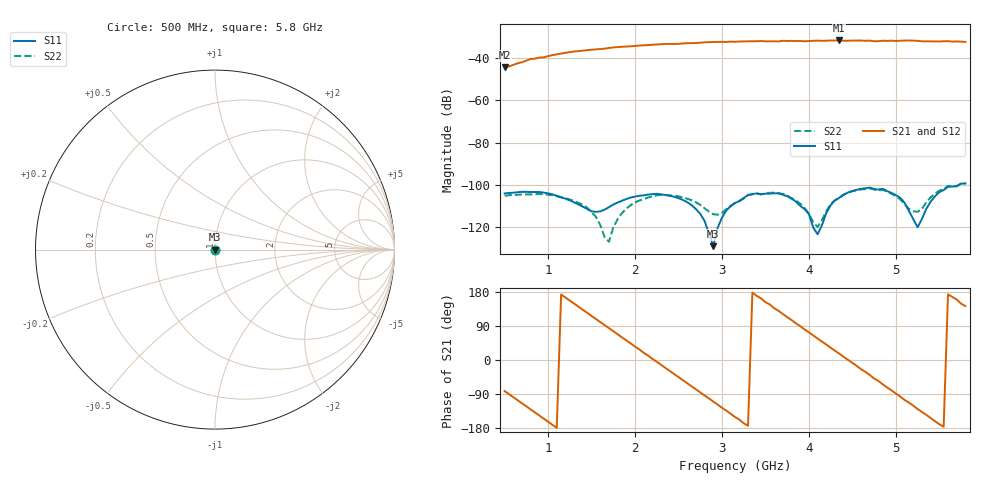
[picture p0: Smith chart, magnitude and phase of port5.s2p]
# GHZ S RI R 50
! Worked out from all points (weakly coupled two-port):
!   107 points, 500 MHz to 5.8 GHz, reference 50 ohm
!   highest |S21| = -31.63 dB at 4.35 GHz (marker M1); lowest = -44.4 dB at 500 MHz (marker M2)
!   lowest |S11| = -129.0 dB at 2.9 GHz (marker M3), VSWR 1.00, Z = 50 - j9.72e-06 ohm
!   |S11| at or under -10 dB: start of sweep to end of sweep
!   |S22| runs from -126.9 to -99.3 dB; largest |S21 - S12| = 0.00051
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0.5  5.3e-06 -3.4e-06  0.000838 -0.00597  0.00084 -0.00597  5.43e-06 -1.17e-06
0.55  4.79e-06 -4.31e-06  1.1e-05 -0.00635  1.98e-05 -0.00635  5.44e-06 -1.69e-06
0.8  2.25e-07 -6.81e-06  -0.00625 -0.00728  -0.00625 -0.00728  3.87e-06 -4.56e-06
0.95  -2.48e-06 -6.1e-06  -0.00947 -0.00446  -0.00947 -0.00445  2.18e-06 -5.62e-06
1.2  -3.99e-06 -2.54e-06  -0.0129 0.00348  -0.0129 0.00347  -1.12e-06 -4.7e-06
1.4  -2.86e-06 -1.1e-06  -0.0101 0.0111  -0.0102 0.0111  -2.31e-06 -2.46e-06
1.75  -2.18e-06 -2.66e-06  0.00436 0.0174  0.00438 0.0174  7.57e-07 -6.26e-07
2.3  -5.94e-06 9.08e-07  0.0209 -0.00471  0.0209 -0.00462  -2.12e-06 -5.39e-06
2.5  -3.84e-06 3e-06  0.0154 -0.0154  0.0154 -0.0153  -4.3e-06 -3.2e-06
2.9  -3.42e-07 -9.72e-08  -0.00811 -0.0226  -0.00806 -0.0227  -1.92e-06 -6.75e-07
3.15  -3.06e-06 -2.12e-06  -0.0212 -0.012  -0.0212 -0.0122  -2.24e-06 -3e-06
3.55  -5.18e-06 3.46e-06  -0.0209 0.0138  -0.0207 0.014  -6.48e-06 6.11e-07
3.95  3.36e-07 2.65e-06  0.00407 0.0247  0.00401 0.0248  -1.27e-06 2.52e-06
4.05  -2.57e-07 9.39e-07  0.0109 0.0233  0.011 0.0233  -9.98e-07 8.56e-07
4.35  -4.94e-06 -6.58e-08  0.0251 0.00755  0.0251 0.00778  -4.67e-06 -2e-06
4.7  -4.98e-06 7.1e-06  0.0201 -0.0165  0.02 -0.0166  -7.29e-06 3.91e-06
4.75  -3.14e-06 7.39e-06  0.0165 -0.019  0.0164 -0.019  -6.11e-06 4.8e-06
4.95  1.6e-06 6.28e-06  0.00441 -0.0256  0.00444 -0.0256  -2.65e-06 5.62e-06
5.15  2.16e-06 1.12e-06  -0.00998 -0.0242  -0.01 -0.0243  -1.1e-06 2.47e-06
5.4  -3.92e-06 -8.99e-07  -0.0222 -0.0113  -0.0222 -0.0114  -5.06e-06 6.57e-07
5.6  -7.8e-06 4.53e-06  -0.0251 0.00297  -0.025 0.00245  -8.1e-06 4.87e-06
5.8  -4.61e-06 9.86e-06  -0.0192 0.0148  -0.0189 0.015  -5.38e-06 9.33e-06
